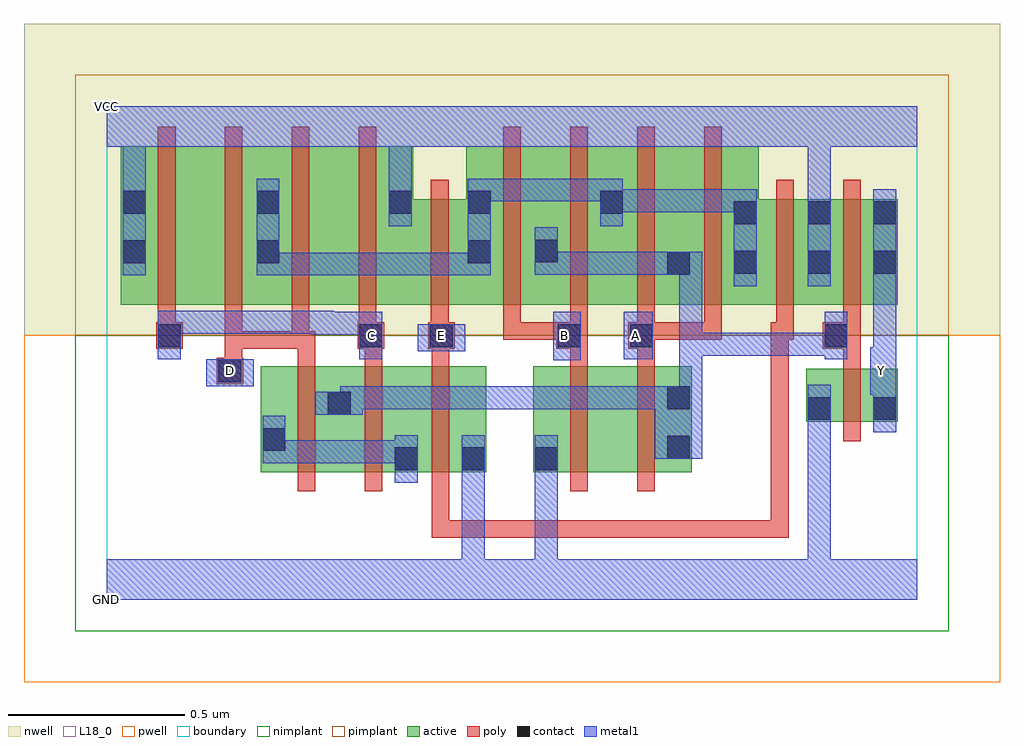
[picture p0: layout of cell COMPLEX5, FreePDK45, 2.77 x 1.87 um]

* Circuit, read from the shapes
.subckt COMPLEX5 A B C D E GND VCC Y
M1 n1 D n2 VSUBS nfet w=0.3u l=0.05u
M2 n2 C n1 VSUBS nfet w=0.3u l=0.05u
M3 GND E n2 VSUBS nfet w=0.3u l=0.05u
M4 n3 B GND VSUBS nfet w=0.3u l=0.05u
M5 n1 A n3 VSUBS nfet w=0.3u l=0.05u
M6 Y n1 GND VSUBS nfet w=0.15u l=0.05u
M7 n4 C VCC n5 pfet w=0.45u l=0.05u
M8 n6 D n4 n5 pfet w=0.45u l=0.05u
M9 n7 D n6 n5 pfet w=0.45u l=0.05u
M10 VCC C n7 n5 pfet w=0.45u l=0.05u
M11 n6 E VCC n5 pfet w=0.3u l=0.05u m=2
M12 n1 B n6 n5 pfet w=0.45u l=0.05u m=2
M13 n1 A n6 n5 pfet w=0.45u l=0.05u m=2
M14 Y n1 VCC n5 pfet w=0.3u l=0.05u
.ends

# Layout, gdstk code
import gdstk
lib = gdstk.Library(unit=1e-6, precision=1e-09)
def R(c, l, rs):  # rectangles x0, y0, x1, y1
    for r in rs: c.add(gdstk.rectangle(r[:2], r[2:], *l))
def A(c, l, x, y, w, h, nx, ny, dx, dy):  # array of equal rectangles
    R(c, l, [(x+i*dx, y+j*dy, x+i*dx+w, y+j*dy+h) for i in range(nx) for j in range(ny)])
active = (1, 0)
pwell = (2, 0)
nwell = (3, 0)
nimplant = (4, 0)
pimplant = (5, 0)
poly = (9, 0)
contact = (10, 0)
metal1 = (11, 0)
L18_0 = (18, 0)
boundary = (235, 0)

complex5 = lib.new_cell('COMPLEX5')
R(complex5, active, [(0.437,0.362,0.697,0.662), (0.622,0.362,0.887,0.662), (0.812,0.362,0.887,0.547), (0.812,0.362,1.077,0.662), (1.002,0.362,1.077,0.662), (1.21,0.362,1.435,0.662), (1.21,0.362,1.285,0.547), (1.435,0.362,1.66,0.662), (1.585,0.382,1.66,0.662), (0.437,0.395,0.512,0.662), (0.622,0.395,0.697,0.595), (1.985,0.505,2.06,0.655), (1.985,0.505,2.245,0.655), (2.17,0.505,2.245,0.655), (0.04,0.837,0.265,1.287), (0.04,0.837,0.115,1.287), (0.265,0.837,0.495,1.287), (0.42,0.837,0.495,1.2), (0.42,0.837,0.645,1.287), (0.645,0.837,0.87,1.287), (0.795,0.837,1.095,1.137), (1.02,0.837,1.285,1.287), (1.21,0.837,1.285,1.07), (1.21,0.837,1.47,1.287), (1.395,0.837,1.66,1.287), (1.585,0.837,1.85,1.287), (1.585,0.837,1.66,1.07), (1.775,0.837,2.06,1.137), (1.775,0.837,1.85,1.2), (1.985,0.837,2.245,1.137), (1.985,0.837,2.06,1.135), (2.17,0.837,2.245,1.137), (1.395,0.857,1.47,1.2), (1.02,0.95,1.095,1.2), (0.795,1.007,0.87,1.165)])
R(complex5, pwell, [(-0.235,-0.235,2.535,0.75)])
R(complex5, nwell, [(-0.235,0.75,2.535,1.635)])
R(complex5, nimplant, [(-0.09,-0.09,2.39,0.75)])
R(complex5, pimplant, [(-0.09,0.75,2.39,1.49)])
A(complex5, poly, 0.542, 0.307, 0.05, 0.41, 3, 1, 0.19, 0)
A(complex5, poly, 0.542, 0.667, 0.05, 0.095, 3, 1, 0.19, 0)
A(complex5, poly, 0.715, 0.737, 0.05, 0.095, 3, 1, 0.205, 0)
A(complex5, poly, 1.315, 0.737, 0.05, 0.095, 3, 1, 0.19, 0)
A(complex5, poly, 0.145, 0.782, 0.05, 0.56, 4, 1, 0.19, 0)
A(complex5, poly, 1.125, 0.782, 0.05, 0.56, 4, 1, 0.19, 0)
R(complex5, poly, [(0.922,0.175,0.972,0.225), (0.922,0.175,0.972,0.225), (0.922,0.175,0.972,0.225), (0.922,0.175,1.12,0.225), (0.922,0.175,0.972,0.357), (1.07,0.175,1.12,0.225), (1.07,0.175,1.12,0.225), (1.07,0.175,1.12,0.225), (1.07,0.175,1.397,0.225), (1.347,0.175,1.397,0.225), (1.347,0.175,1.397,0.225), (1.347,0.175,1.397,0.225), (1.347,0.175,1.612,0.225), (1.562,0.175,1.612,0.225), (1.562,0.175,1.802,0.225), (1.752,0.175,1.802,0.225), (1.752,0.175,1.802,0.225), (1.752,0.175,1.802,0.225), (1.752,0.175,1.935,0.225), (1.885,0.175,1.935,0.225), (1.885,0.175,1.935,0.225), (1.885,0.175,1.935,0.225), (1.885,0.175,1.935,0.787), (1.315,0.307,1.365,0.717), (1.505,0.307,1.555,0.717), (2.09,0.45,2.14,0.71), (0.312,0.612,0.387,0.687), (0.335,0.637,0.385,0.762), (2.09,0.66,2.14,0.762), (1.315,0.667,1.365,0.762), (1.505,0.667,1.555,0.762), (0.14,0.712,0.215,0.787), (0.335,0.712,0.385,0.762), (0.335,0.712,0.385,0.762), (0.335,0.712,0.385,0.762), (0.335,0.712,0.385,0.762), (0.335,0.712,0.385,0.762), (0.335,0.712,0.575,0.762), (0.335,0.712,0.385,0.832), (0.525,0.712,0.575,0.832), (0.525,0.712,0.592,0.762), (0.712,0.712,0.787,0.787), (0.912,0.712,0.987,0.787), (1.275,0.712,1.365,0.787), (1.48,0.712,1.555,0.787), (2.032,0.712,2.14,0.787), (0.145,0.737,0.195,0.832), (1.125,0.737,1.175,0.787), (1.125,0.737,1.175,0.787), (1.125,0.737,1.175,0.787), (1.125,0.737,1.325,0.787), (1.505,0.737,1.745,0.787), (1.695,0.737,1.745,0.787), (1.695,0.737,1.745,0.787), (1.695,0.737,1.745,0.787), (1.885,0.737,1.935,0.787), (1.885,0.737,1.935,0.787), (1.885,0.737,1.935,0.787), (1.885,0.737,1.935,0.787), (1.885,0.737,1.935,0.787), (1.885,0.737,1.935,0.787), (1.885,0.737,1.95,0.787), (1.9,0.737,1.95,0.832), (2.09,0.737,2.14,0.832), (0.92,0.782,0.97,1.192), (1.9,0.782,1.95,1.192), (2.09,0.782,2.14,1.192)])
R(complex5, contact, [(0.817,0.367,0.882,0.432), (1.007,0.367,1.072,0.432), (1.215,0.367,1.28,0.432), (1.59,0.4,1.655,0.465), (0.442,0.422,0.507,0.487), (1.99,0.51,2.055,0.575), (2.175,0.51,2.24,0.575), (0.627,0.525,0.692,0.59), (1.59,0.54,1.655,0.605), (0.317,0.617,0.382,0.682), (0.145,0.717,0.21,0.782), (0.717,0.717,0.782,0.782), (0.917,0.717,0.982,0.782), (1.28,0.717,1.345,0.782), (1.485,0.717,1.55,0.782), (2.037,0.717,2.102,0.782), (1.59,0.922,1.655,0.987), (1.78,0.925,1.845,0.99), (1.99,0.925,2.055,0.99), (2.175,0.925,2.24,0.99), (0.045,0.955,0.11,1.02), (0.425,0.955,0.49,1.02), (1.025,0.955,1.09,1.02), (1.215,0.957,1.28,1.022), (1.78,1.065,1.845,1.13), (1.99,1.065,2.055,1.13), (2.175,1.065,2.24,1.13), (0.045,1.095,0.11,1.16), (0.425,1.095,0.49,1.16), (0.8,1.095,0.865,1.16), (1.025,1.095,1.09,1.16), (1.4,1.095,1.465,1.16)])
R(complex5, metal1, [(0,0,2.3,0.115), (1.007,0.05,1.072,0.397), (1.215,0.05,1.28,0.397), (1.99,0.05,2.055,0.115), (1.99,0.05,2.055,0.115), (1.99,0.05,2.055,0.115), (1.99,0.05,2.055,0.115), (1.99,0.05,2.055,0.115), (1.99,0.05,2.055,0.115), (1.99,0.05,2.055,0.54), (0.817,0.332,0.882,0.467), (1.007,0.332,1.072,0.467), (1.007,0.332,1.072,0.397), (1.007,0.332,1.072,0.397), (1.007,0.332,1.072,0.397), (1.007,0.332,1.072,0.397), (1.215,0.332,1.28,0.467), (1.215,0.332,1.28,0.397), (1.215,0.332,1.28,0.397), (1.215,0.332,1.28,0.397), (1.215,0.332,1.28,0.397), (0.442,0.387,0.507,0.522), (0.442,0.387,0.507,0.452), (0.442,0.387,0.507,0.452), (0.442,0.387,0.727,0.452), (0.662,0.387,0.727,0.452), (0.662,0.387,0.727,0.452), (0.662,0.387,0.727,0.452), (0.662,0.387,0.882,0.452), (1.555,0.4,1.69,0.605), (1.99,0.475,2.055,0.61), (2.175,0.475,2.24,0.61), (0.592,0.525,0.727,0.59), (0.662,0.525,0.727,0.59), (0.662,0.525,0.727,0.605), (0.662,0.54,0.935,0.605), (0.87,0.54,0.935,0.605), (0.87,0.54,0.935,0.605), (0.87,0.54,0.935,0.605), (0.87,0.54,1.09,0.605), (1.025,0.54,1.227,0.605), (1.025,0.54,1.09,0.605), (1.025,0.54,1.09,0.605), (1.025,0.54,1.09,0.605), (1.162,0.54,1.227,0.605), (1.162,0.54,1.227,0.605), (1.162,0.54,1.227,0.605), (1.162,0.54,1.482,0.605), (1.417,0.54,1.482,0.605), (1.417,0.54,1.482,0.605), (1.417,0.54,1.482,0.605), (1.417,0.54,1.62,0.605), (1.625,0.54,1.69,0.757), (2.175,0.545,2.24,0.647), (2.167,0.582,2.24,0.717), (0.282,0.605,0.417,0.682), (2.175,0.652,2.24,0.955), (1.267,0.68,1.345,0.817), (0.145,0.682,0.21,0.817), (0.717,0.682,0.782,0.817), (1.467,0.682,1.55,0.817), (2.037,0.682,2.102,0.817), (1.625,0.692,1.827,0.757), (1.625,0.692,1.69,0.757), (1.625,0.692,1.69,0.757), (1.625,0.692,1.69,0.757), (1.625,0.692,1.69,0.987), (1.762,0.692,1.827,0.757), (1.762,0.692,1.965,0.757), (1.9,0.692,2.102,0.757), (1.9,0.692,1.965,0.757), (1.9,0.692,1.965,0.757), (1.9,0.692,1.965,0.757), (0.882,0.705,1.017,0.782), (0.145,0.752,0.21,0.817), (0.145,0.752,0.21,0.82), (0.58,0.752,0.782,0.817), (0.58,0.752,0.645,0.82), (0.145,0.755,0.347,0.82), (0.282,0.755,0.347,0.82), (0.282,0.755,0.347,0.82), (0.282,0.755,0.347,0.82), (0.282,0.755,0.59,0.82), (0.525,0.755,0.59,0.82), (0.525,0.755,0.645,0.82), (1.78,0.89,1.845,1.165), (1.99,0.89,2.055,1.165), (2.175,0.89,2.24,1.165), (0.045,0.92,0.11,1.195), (0.425,0.92,0.49,1.195), (0.425,0.92,0.49,0.985), (0.425,0.92,0.49,0.985), (0.425,0.92,0.727,0.985), (0.662,0.92,0.727,0.985), (0.662,0.92,0.727,0.985), (0.662,0.92,0.727,0.985), (0.662,0.92,0.865,0.985), (0.8,0.92,0.865,0.985), (0.8,0.92,0.865,0.985), (0.8,0.92,0.865,0.985), (0.8,0.92,1.09,0.985), (1.025,0.92,1.09,1.195), (1.215,0.922,1.28,1.057), (1.215,0.922,1.417,0.987), (1.215,0.922,1.28,0.987), (1.215,0.922,1.28,0.987), (1.352,0.922,1.417,0.987), (1.352,0.922,1.417,0.987), (1.352,0.922,1.417,0.987), (1.352,0.922,1.62,0.987), (1.555,0.922,1.69,0.987), (0.8,1.06,0.865,1.195), (1.4,1.06,1.465,1.195), (1.4,1.1,1.465,1.165), (1.4,1.1,1.465,1.165), (1.4,1.1,1.69,1.165), (1.625,1.1,1.69,1.165), (1.625,1.1,1.69,1.165), (1.625,1.1,1.69,1.165), (1.625,1.1,1.845,1.165), (1.99,1.1,2.055,1.165), (1.99,1.1,2.055,1.165), (1.99,1.1,2.055,1.35), (0.045,1.13,0.11,1.35), (0.8,1.13,0.865,1.35), (1.025,1.13,1.227,1.195), (1.025,1.13,1.09,1.195), (1.025,1.13,1.09,1.195), (1.025,1.13,1.09,1.195), (1.025,1.13,1.09,1.195), (1.162,1.13,1.227,1.195), (1.162,1.13,1.227,1.195), (1.162,1.13,1.227,1.195), (1.162,1.13,1.465,1.195), (0,1.285,2.3,1.4)])
R(complex5, L18_0, [(0,0,2.3,0.115), (1.007,0.05,1.072,0.397), (1.215,0.05,1.28,0.397), (1.99,0.05,2.055,0.115), (1.99,0.05,2.055,0.115), (1.99,0.05,2.055,0.115), (1.99,0.05,2.055,0.115), (1.99,0.05,2.055,0.115), (1.99,0.05,2.055,0.115), (1.99,0.05,2.055,0.54), (1.007,0.332,1.072,0.467), (1.007,0.332,1.072,0.397), (1.007,0.332,1.072,0.397), (1.007,0.332,1.072,0.397), (1.007,0.332,1.072,0.397), (1.215,0.332,1.28,0.467), (1.215,0.332,1.28,0.397), (1.215,0.332,1.28,0.397), (1.215,0.332,1.28,0.397), (1.215,0.332,1.28,0.397), (1.99,0.475,2.055,0.61), (2.175,0.475,2.24,0.61), (2.175,0.545,2.24,0.647), (2.167,0.582,2.24,0.717), (0.282,0.605,0.417,0.682), (0.317,0.617,0.382,0.682), (2.167,0.617,2.232,0.682), (2.175,0.652,2.24,0.955), (1.267,0.68,1.345,0.817), (0.145,0.682,0.21,0.817), (0.717,0.682,0.782,0.817), (1.467,0.682,1.55,0.817), (0.882,0.705,1.017,0.782), (0.717,0.717,0.782,0.782), (0.917,0.717,0.982,0.782), (1.267,0.717,1.332,0.782), (1.467,0.717,1.532,0.782), (0.145,0.752,0.21,0.82), (0.145,0.752,0.21,0.817), (0.58,0.752,0.645,0.82), (0.58,0.752,0.782,0.817), (0.145,0.755,0.347,0.82), (0.282,0.755,0.347,0.82), (0.282,0.755,0.347,0.82), (0.282,0.755,0.347,0.82), (0.282,0.755,0.59,0.82), (0.525,0.755,0.59,0.82), (0.525,0.755,0.645,0.82), (1.99,0.89,2.055,1.165), (2.175,0.89,2.24,1.165), (0.045,0.92,0.11,1.195), (0.8,1.06,0.865,1.195), (1.99,1.1,2.055,1.165), (1.99,1.1,2.055,1.165), (1.99,1.1,2.055,1.35), (0.045,1.13,0.11,1.35), (0.8,1.13,0.865,1.35), (0,1.285,2.3,1.4)])
R(complex5, boundary, [(0,0,2.3,1.4)])
complex5.add(gdstk.Label('A', (1.5,0.75), layer=11, texttype=0))
complex5.add(gdstk.Label('B', (1.3,0.75), layer=11, texttype=0))
complex5.add(gdstk.Label('C', (0.75,0.75), layer=11, texttype=0))
complex5.add(gdstk.Label('D', (0.35,0.65), layer=11, texttype=0))
complex5.add(gdstk.Label('E', (0.95,0.75), layer=11, texttype=0))
complex5.add(gdstk.Label('Y', (2.2,0.65), layer=11, texttype=0))
complex5.add(gdstk.Label('VCC', (0,1.4), layer=11, texttype=0))
complex5.add(gdstk.Label('GND', (0,0), layer=11, texttype=0))

lib.write_gds('COMPLEX5.gds')
